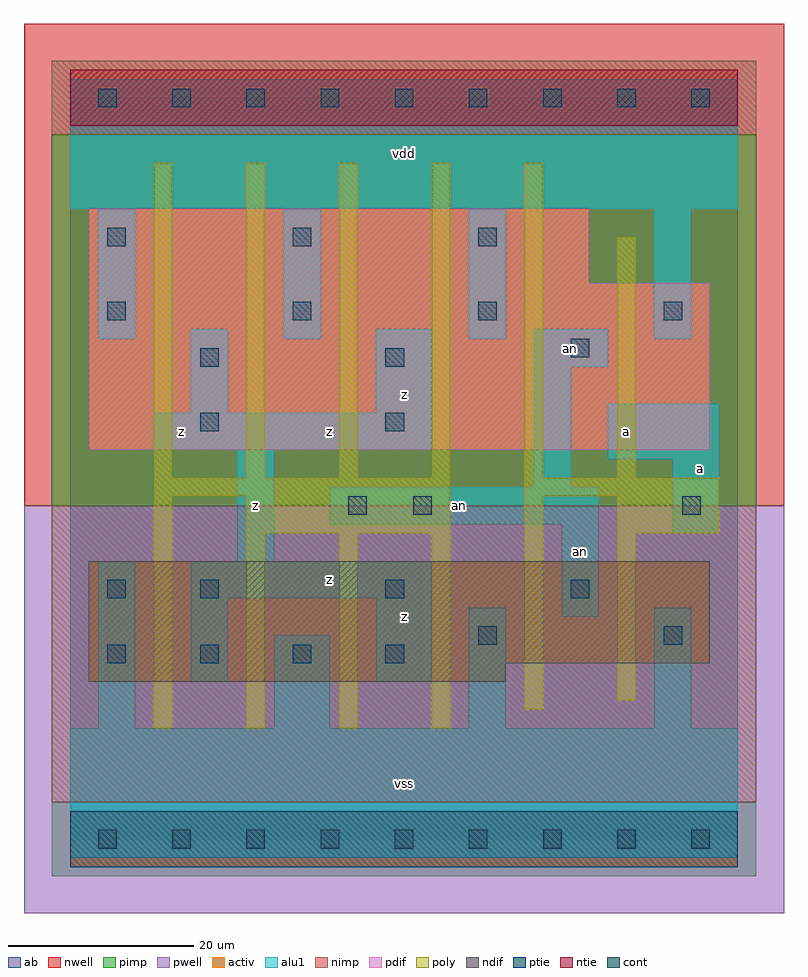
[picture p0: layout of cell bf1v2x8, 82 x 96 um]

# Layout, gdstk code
import gdstk
lib = gdstk.Library(unit=1e-6, precision=1e-09)
def R(c, l, rs):  # rectangles x0, y0, x1, y1
    for r in rs: c.add(gdstk.rectangle(r[:2], r[2:], *l))
def A(c, l, x, y, w, h, nx, ny, dx, dy):  # array of equal rectangles
    R(c, l, [(x+i*dx, y+j*dy, x+i*dx+w, y+j*dy+h) for i in range(nx) for j in range(ny)])
ndif = (3, 0)
pdif = (4, 0)
ntie = (5, 0)
ptie = (6, 0)
cont = (25, 0)
pwell = (41, 0)
nwell = (42, 0)
activ = (43, 0)
pimp = (44, 0)
nimp = (45, 0)
poly = (46, 0)
alu1 = (49, 0)
ab = (63, 0)

bf1v2x8 = lib.new_cell('bf1v2x8')
R(bf1v2x8, ndif, [(2,17,47,19), (2,19,69,30)])
R(bf1v2x8, pdif, [(2,42,69,60), (2,60,56,68)])
R(bf1v2x8, ntie, [(0,77,72,83)])
R(bf1v2x8, ptie, [(0,-3,72,3)])
A(bf1v2x8, cont, 3, -1, 2, 2, 9, 2, 8, 80)
A(bf1v2x8, cont, 4, 19, 2, 2, 4, 1, 10, 0)
A(bf1v2x8, cont, 14, 26, 2, 2, 3, 1, 20, 0)
A(bf1v2x8, cont, 4, 56, 2, 2, 4, 1, 20, 0)
A(bf1v2x8, cont, 4, 64, 2, 2, 3, 1, 20, 0)
R(bf1v2x8, cont, [(44,21,46,23), (64,21,66,23), (4,26,6,28), (30,35,32,37), (37,35,39,37), (66,35,68,37), (14,44,16,46), (34,44,36,46), (14,51,16,53), (34,51,36,53), (54,52,56,54)])
R(bf1v2x8, pwell, [(-5,-8,77,36)])
R(bf1v2x8, nwell, [(-5,36,77,88)])
R(bf1v2x8, activ, [(0,-3,72,3), (2,17,47,19), (2,19,69,30), (2,42,69,60), (2,60,56,68), (0,77,72,83)])
R(bf1v2x8, pimp, [(-2,-4,74,4), (-2,36,74,76)])
R(bf1v2x8, nimp, [(-2,4,74,36), (-2,76,74,84)])
A(bf1v2x8, poly, 19, 12, 2, 21, 3, 1, 10, 0)
A(bf1v2x8, poly, 9, 39, 2, 34, 5, 1, 10, 0)
R(bf1v2x8, poly, [(9,12,11,37), (49,14,51,37), (59,15,61,33), (19,33,41,37), (59,33,70,37), (9,37,41,39), (49,37,70,39), (59,39,61,65)])
A(bf1v2x8, alu1, 3, 54, 4, 14, 4, 1, 20, 0)
R(bf1v2x8, alu1, [(0,-2,72,12), (3,12,7,30), (22,12,28,22), (43,12,47,25), (63,12,67,25), (13,17,17,26), (33,17,39,26), (53,24,57,34), (13,26,39,30), (18,30,22,42), (65,33,70,41), (28,34,57,38), (50,38,54,51), (58,41,70,47), (9,42,39,46), (13,46,17,55), (33,46,39,55), (50,51,58,55), (0,68,72,82)])
R(bf1v2x8, ab, [(0,0,72,80)])
bf1v2x8.add(gdstk.Label('an', (55,31), layer=49, texttype=0))
bf1v2x8.add(gdstk.Label('an', (42,36), layer=49, texttype=0))
bf1v2x8.add(gdstk.Label('an', (54,53), layer=49, texttype=0))
bf1v2x8.add(gdstk.Label('z', (12,44), layer=49, texttype=0))
bf1v2x8.add(gdstk.Label('z', (20,36), layer=49, texttype=0))
bf1v2x8.add(gdstk.Label('z', (28,28), layer=49, texttype=0))
bf1v2x8.add(gdstk.Label('z', (28,44), layer=49, texttype=0))
bf1v2x8.add(gdstk.Label('vss', (36,6), layer=49, texttype=0))
bf1v2x8.add(gdstk.Label('z', (36,24), layer=49, texttype=0))
bf1v2x8.add(gdstk.Label('z', (36,48), layer=49, texttype=0))
bf1v2x8.add(gdstk.Label('vdd', (36,74), layer=49, texttype=0))
bf1v2x8.add(gdstk.Label('a', (60,44), layer=49, texttype=0))
bf1v2x8.add(gdstk.Label('a', (68,40), layer=49, texttype=0))

lib.write_gds('bf1v2x8.gds')
